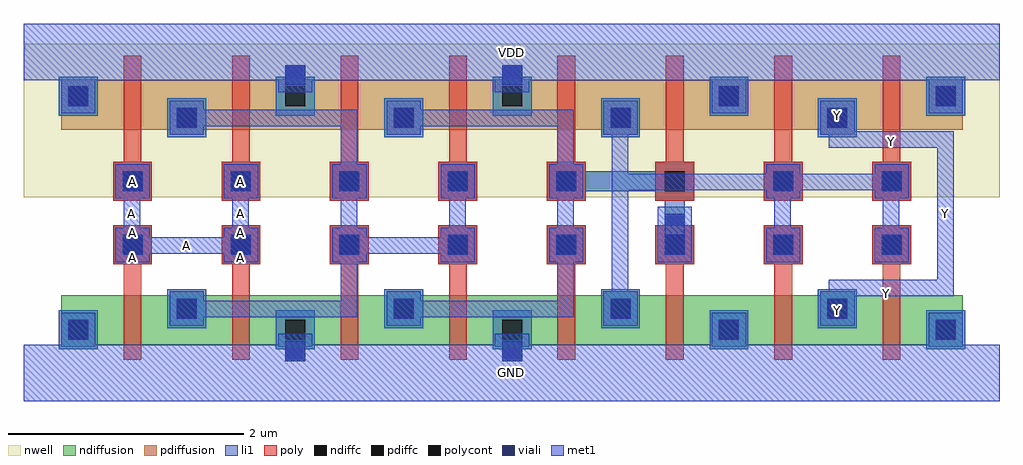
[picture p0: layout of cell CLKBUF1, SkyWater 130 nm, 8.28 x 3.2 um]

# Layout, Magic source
magic
# Generated by librecell
tech sky130A
<< nwell >>
rect 0 149 828 272
rect 1 272 828 279
<< viali >>
<< viali >>
rect 544 117 561 118
rect 222 10 239 27
rect 406 10 423 27
rect 38 28 55 45
rect 590 28 607 45
rect 774 28 791 45
rect 130 46 147 63
rect 314 46 331 63
rect 498 46 515 63
rect 682 46 699 63
rect 84 100 101 117
rect 176 100 193 117
rect 268 100 285 117
rect 360 100 377 117
rect 452 100 469 117
rect 544 100 561 117
rect 636 100 653 117
rect 728 100 745 117
rect 544 118 561 135
rect 84 154 101 171
rect 176 154 193 171
rect 268 154 285 171
rect 360 154 377 171
rect 452 154 469 171
rect 636 154 653 171
rect 728 154 745 171
rect 130 208 147 225
rect 314 208 331 225
rect 498 208 515 225
rect 682 208 699 225
rect 38 226 55 243
rect 590 226 607 243
rect 774 226 791 243
rect 222 244 239 261
rect 406 244 423 261
<< poly >>
rect 85 11 100 92
rect 76 92 109 125
rect 177 11 192 92
rect 168 92 201 125
rect 269 11 284 92
rect 260 92 293 125
rect 361 11 376 92
rect 352 92 385 125
rect 453 11 468 92
rect 444 92 477 125
rect 545 11 560 92
rect 536 92 569 125
rect 637 11 652 92
rect 628 92 661 125
rect 729 11 744 92
rect 720 92 753 125
rect 76 146 109 179
rect 85 179 100 269
rect 168 146 201 179
rect 177 179 192 269
rect 260 146 293 179
rect 269 179 284 269
rect 352 146 385 179
rect 361 179 376 269
rect 444 146 477 179
rect 453 179 468 269
rect 536 146 569 179
rect 545 179 560 269
rect 628 146 661 179
rect 637 179 652 269
rect 720 146 753 179
rect 729 179 744 269
<< properties >>
string FIXED_BBOX 0 0 828 272
<< li1 >>
rect 30 20 63 53
rect 222 10 239 20
rect 214 20 247 53
rect 406 10 423 20
rect 398 20 431 53
rect 582 20 615 53
rect 766 20 799 53
rect 122 38 155 71
rect 306 38 339 71
rect 490 38 523 71
rect 674 38 707 71
rect 76 92 109 125
rect 168 92 201 125
rect 260 92 293 125
rect 352 92 385 125
rect 444 92 477 125
rect 628 92 661 125
rect 720 92 753 125
rect 76 146 109 179
rect 168 146 201 179
rect 260 146 293 179
rect 352 146 385 179
rect 536 92 569 125
rect 544 125 561 146
rect 444 146 477 154
rect 536 146 569 154
rect 444 154 569 171
rect 444 171 477 179
rect 536 171 569 179
rect 628 146 661 179
rect 720 146 753 179
rect 122 200 155 233
rect 306 200 339 233
rect 490 200 523 233
rect 674 200 707 233
rect 30 218 63 251
rect 582 218 615 251
rect 766 218 799 251
rect 214 218 247 251
rect 222 251 239 261
rect 398 218 431 251
rect 406 251 423 261
<< met1 >>
rect 0 -24 828 24
rect 216 24 245 33
rect 400 24 429 33
rect 32 24 61 51
rect 584 24 613 51
rect 768 24 797 51
rect 538 94 567 141
rect 78 94 107 101
rect 170 94 199 101
rect 78 101 199 115
rect 78 115 107 123
rect 170 115 199 123
rect 85 123 99 148
rect 177 123 191 148
rect 78 148 107 177
rect 170 148 199 177
rect 124 40 153 47
rect 124 47 283 61
rect 124 61 153 69
rect 269 61 283 94
rect 262 94 291 101
rect 354 94 383 101
rect 262 101 383 115
rect 262 115 291 123
rect 354 115 383 123
rect 269 123 283 148
rect 361 123 375 148
rect 262 148 291 177
rect 354 148 383 177
rect 124 202 153 209
rect 269 177 283 209
rect 124 209 283 223
rect 124 223 153 231
rect 308 40 337 47
rect 308 47 467 61
rect 308 61 337 69
rect 453 61 467 94
rect 446 94 475 123
rect 453 123 467 148
rect 446 148 475 177
rect 308 202 337 209
rect 453 177 467 209
rect 308 209 467 223
rect 308 223 337 231
rect 492 40 521 69
rect 630 94 659 123
rect 722 94 751 123
rect 637 123 651 148
rect 729 123 743 148
rect 499 69 513 155
rect 630 148 659 155
rect 722 148 751 155
rect 499 155 751 169
rect 630 169 659 177
rect 722 169 751 177
rect 499 169 513 202
rect 492 202 521 231
rect 676 40 705 65
rect 676 65 789 69
rect 683 69 789 79
rect 775 79 789 191
rect 683 191 789 202
rect 676 202 789 205
rect 676 205 705 231
rect 32 220 61 248
rect 216 238 245 248
rect 400 238 429 248
rect 584 220 613 248
rect 768 220 797 248
rect 0 248 828 296
<< li1 >>
<< met1 >>
<< li1 >>
<< met1 >>
rect 0 -24 828 24
rect 78 94 107 101
rect 170 94 199 101
rect 78 101 199 115
rect 78 115 107 123
rect 170 115 199 123
rect 85 123 99 148
rect 177 123 191 148
rect 78 148 107 177
rect 170 148 199 177
rect 676 40 705 65
rect 676 65 789 69
rect 683 69 789 79
rect 775 79 789 191
rect 683 191 789 202
rect 676 202 789 205
rect 676 205 705 231
rect 0 248 828 296
<< ndiffusion >>
rect 32 22 61 24
rect 216 22 245 24
rect 400 22 429 24
rect 584 22 613 24
rect 768 22 797 24
rect 32 24 797 66
rect 124 66 153 69
rect 308 66 337 69
rect 492 66 521 69
rect 676 66 705 69
<< pdiffusion >>
rect 124 202 153 206
rect 308 202 337 206
rect 492 202 521 206
rect 676 202 705 206
rect 32 206 797 248
rect 32 248 61 249
rect 216 248 245 249
rect 400 248 429 249
rect 584 248 613 249
rect 768 248 797 249
<< polycont >>
rect 84 100 101 117
rect 176 100 193 117
rect 268 100 285 117
rect 360 100 377 117
rect 452 100 469 117
rect 544 100 561 117
rect 636 100 653 117
rect 728 100 745 117
rect 84 154 101 171
rect 176 154 193 171
rect 268 154 285 171
rect 360 154 377 171
rect 452 154 469 171
rect 544 154 561 171
rect 636 154 653 171
rect 728 154 745 171
<< pdiffc >>
rect 130 208 147 225
rect 314 208 331 225
rect 498 208 515 225
rect 682 208 699 225
rect 38 226 55 243
rect 222 226 239 243
rect 406 226 423 243
rect 590 226 607 243
rect 774 226 791 243
<< ndiffc >>
rect 38 28 55 45
rect 222 28 239 45
rect 406 28 423 45
rect 590 28 607 45
rect 774 28 791 45
rect 130 46 147 63
rect 314 46 331 63
rect 498 46 515 63
rect 682 46 699 63
<< labels >>
rlabel metal2 0 248 828 296 0 VDD
port 1 se
rlabel metal2 0 -24 828 24 0 GND
port 2 se
rlabel metal2 676 40 705 65 0 Y
port 3 se
rlabel metal2 676 65 789 69 0 Y
port 4 se
rlabel metal2 683 69 789 79 0 Y
port 5 se
rlabel metal2 775 79 789 191 0 Y
port 6 se
rlabel metal2 683 191 789 202 0 Y
port 7 se
rlabel metal2 676 202 789 205 0 Y
port 8 se
rlabel metal2 676 205 705 231 0 Y
port 9 se
rlabel metal2 78 94 107 101 0 A
port 10 se
rlabel metal2 170 94 199 101 0 A
port 11 se
rlabel metal2 78 101 199 115 0 A
port 12 se
rlabel metal2 78 115 107 123 0 A
port 13 se
rlabel metal2 170 115 199 123 0 A
port 14 se
rlabel metal2 85 123 99 148 0 A
port 15 se
rlabel metal2 177 123 191 148 0 A
port 16 se
rlabel metal2 78 148 107 177 0 A
port 17 se
rlabel metal2 170 148 199 177 0 A
port 18 se
<< end >>
